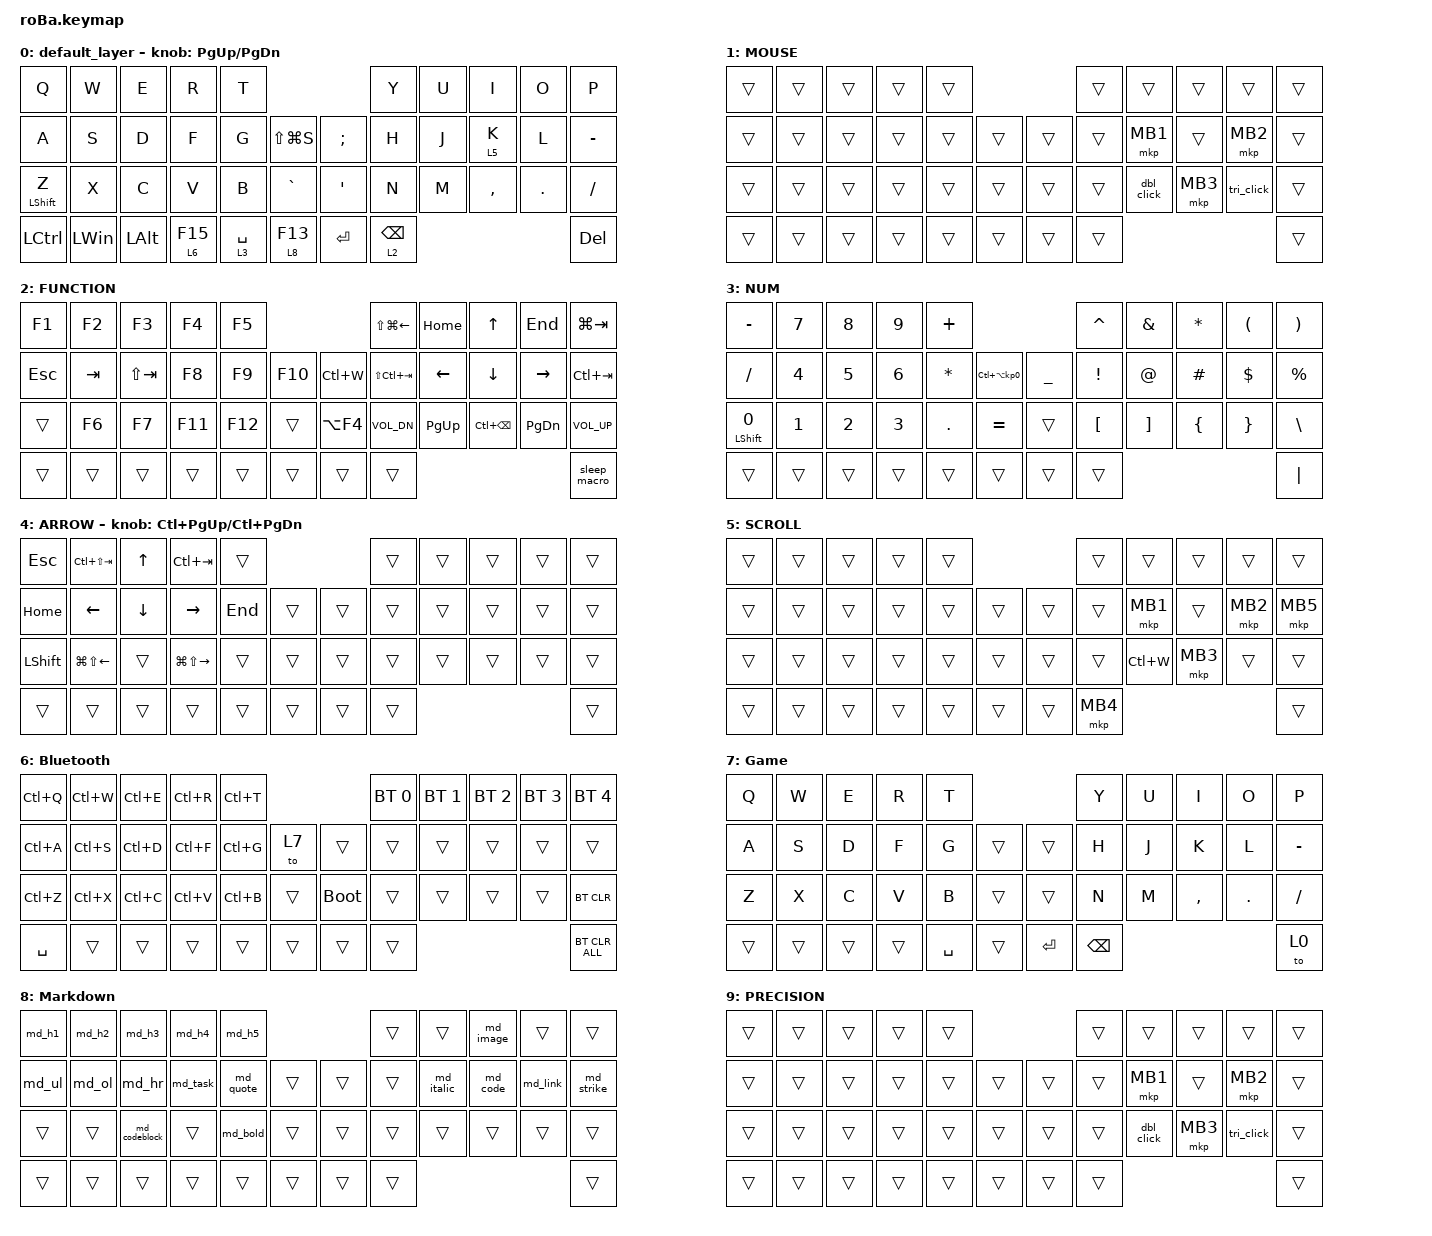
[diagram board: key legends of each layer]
#include <input/processors.dtsi>
#include <dt-bindings/zmk/input_transform.h>
#include <behaviors.dtsi>
#include <dt-bindings/zmk/bt.h>
#include <dt-bindings/zmk/keys.h>
#include <dt-bindings/zmk/pointing.h>

&mt {
    flavor = "balanced";
    quick-tap-ms = <0>;
};

&zip_temp_layer {
    // キー入力直後の微小なトラックボール移動では自動マウスを開始しない。

    require-prior-idle-ms = <250>;

    // 入力前から自動マウスが有効でも、K/O などの文字キーで解除する。
    // マウス操作キーと専用修飾キーでは維持する。

    excluded-positions = <18 20 30 31 32 34 35 36>;
};

&trackball_listener {
    // Windows: 加速ON・速度8付近を目安に、通常の移動量を40%へ。
    // zip_xy_scaler は端数を蓄積するため、小さい移動も切り捨てない。
    // OSの加速カーブも変わるので、旧設定の速度2との厳密な換算ではない。
    // 自動解除は従来どおり最後の移動から700ms後。

    input-processors = <&zip_temp_layer 1 700 &zip_xy_scaler 2 5>;

    scroll {
        layers = <5>;
        input-processors = <&zip_xy_scaler 1 16 &zip_xy_to_scroll_mapper &zip_scroll_transform INPUT_TRANSFORM_Y_INVERT>;
    };

    // 精密操作: 押している間だけカーソル速度 1/3。数字を変えれば効き具合を調整できる
    // 親の通常減速も適用するため、精密操作は通常時のさらに1/3。
    // process-next で親の zip_temp_layer も続けて走らせ、オートマウスを維持する

    precision {
        layers = <9>;
        process-next;
        input-processors = <&zip_xy_scaler 1 3>;
    };
};

/ {
    combos {
        compatible = "zmk,combos";

        tab {
            bindings = <&kp TAB>;
            key-positions = <11 12>;
            layers = <9>;
        };

        shift_tab {
            bindings = <&kp LS(TAB)>;
            key-positions = <12 13>;
            layers = <9>;
        };

        esc {
            bindings = <&to_layer_0 ESC>;
            key-positions = <11 10>;
            layers = <9>;
        };

        snap-to-next-disp {
            bindings = <&kp LS(LG(RIGHT))>;
            key-positions = <11 12 13>;
            layers = <2>;
        };
    };

    macros {
        to_layer_0: to_layer_0 {
            compatible = "zmk,behavior-macro-one-param";
            #binding-cells = <1>;
            bindings = <&to 0 &macro_param_1to1 &kp MACRO_PLACEHOLDER>;
            label = "TO_LAYER_0";
        };

        sleep_macro: sleep_macro {
            compatible = "zmk,behavior-macro";
            #binding-cells = <0>;
            bindings =
                <&kp LG(X)>,
                <&macro_wait_time 1000>,
                <&kp U>,
                <&macro_wait_time 500>,
                <&kp S>;

            label = "SLEEP_MACRO";
        };

        dbl_click: dbl_click {
            compatible = "zmk,behavior-macro";
            #binding-cells = <0>;
            bindings =
                <&macro_press>,
                <&mkp MB1>,
                <&macro_release>,
                <&mkp MB1>,
                <&macro_press>,
                <&mkp MB1>,
                <&macro_pause_for_release>,
                <&macro_release>,
                <&mkp MB1>;

            label = "DBL_CLICK";
        };

        tri_click: tri_click {
            compatible = "zmk,behavior-macro";
            #binding-cells = <0>;
            bindings =
                <&macro_press>,
                <&mkp MB1>,
                <&macro_release>,
                <&mkp MB1>,
                <&macro_press>,
                <&mkp MB1>,
                <&macro_release>,
                <&mkp MB1>,
                <&macro_press>,
                <&mkp MB1>,
                <&macro_pause_for_release>,
                <&macro_release>,
                <&mkp MB1>;

            label = "TRI_CLICK";
        };

        // IME helpers (change here to switch IME method)

        ensure_en: ensure_en {
            compatible = "zmk,behavior-macro";
            #binding-cells = <0>;
            bindings = <&kp LANG2>;
        };

        ensure_jp: ensure_jp {
            compatible = "zmk,behavior-macro";
            #binding-cells = <0>;
            bindings = <&kp LANG1>;
        };

        // Markdown one-shot: headings

        md_h1: md_h1 {
            compatible = "zmk,behavior-macro";
            #binding-cells = <0>;
            wait-ms = <5>;
            tap-ms = <5>;
            bindings = <&ensure_en &kp HASH &kp SPACE &ensure_jp>;
        };

        md_h2: md_h2 {
            compatible = "zmk,behavior-macro";
            #binding-cells = <0>;
            wait-ms = <5>;
            tap-ms = <5>;
            bindings = <&ensure_en &kp HASH &kp HASH &kp SPACE &ensure_jp>;
        };

        md_h3: md_h3 {
            compatible = "zmk,behavior-macro";
            #binding-cells = <0>;
            wait-ms = <5>;
            tap-ms = <5>;
            bindings = <&ensure_en &kp HASH &kp HASH &kp HASH &kp SPACE &ensure_jp>;
        };

        md_h4: md_h4 {
            compatible = "zmk,behavior-macro";
            #binding-cells = <0>;
            wait-ms = <5>;
            tap-ms = <5>;
            bindings = <&ensure_en &kp HASH &kp HASH &kp HASH &kp HASH &kp SPACE &ensure_jp>;
        };

        md_h5: md_h5 {
            compatible = "zmk,behavior-macro";
            #binding-cells = <0>;
            wait-ms = <5>;
            tap-ms = <5>;
            bindings = <&ensure_en &kp HASH &kp HASH &kp HASH &kp HASH &kp HASH &kp SPACE &ensure_jp>;
        };

        // Markdown one-shot: block elements

        md_ul: md_ul {
            compatible = "zmk,behavior-macro";
            #binding-cells = <0>;
            wait-ms = <5>;
            tap-ms = <5>;
            bindings = <&ensure_en &kp MINUS &kp SPACE &ensure_jp>;
        };

        md_ol: md_ol {
            compatible = "zmk,behavior-macro";
            #binding-cells = <0>;
            wait-ms = <5>;
            tap-ms = <5>;
            bindings = <&ensure_en &kp N1 &kp DOT &kp SPACE &ensure_jp>;
        };

        md_hr: md_hr {
            compatible = "zmk,behavior-macro";
            #binding-cells = <0>;
            wait-ms = <5>;
            tap-ms = <5>;
            bindings = <&ensure_en &kp MINUS &kp MINUS &kp MINUS>;
        };

        md_task: md_task {
            compatible = "zmk,behavior-macro";
            #binding-cells = <0>;
            wait-ms = <5>;
            tap-ms = <5>;
            bindings = <&ensure_en &kp MINUS &kp SPACE &kp LBKT &kp SPACE &kp RBKT &kp SPACE &ensure_jp>;
        };

        md_quote: md_quote {
            compatible = "zmk,behavior-macro";
            #binding-cells = <0>;
            wait-ms = <5>;
            tap-ms = <5>;
            bindings = <&ensure_en &kp GT &kp SPACE &ensure_jp>;
        };

        // Markdown templates (one-shot with cursor positioning)

        md_link: md_link {
            compatible = "zmk,behavior-macro";
            #binding-cells = <0>;
            wait-ms = <5>;
            tap-ms = <5>;
            bindings = <&ensure_en &kp LBKT &kp RBKT &kp LPAR &kp RPAR &kp LEFT &kp LEFT &kp LEFT &ensure_jp>;
        };

        md_image: md_image {
            compatible = "zmk,behavior-macro";
            #binding-cells = <0>;
            wait-ms = <5>;
            tap-ms = <5>;
            bindings = <&ensure_en &kp EXCL &kp LBKT &kp RBKT &kp LPAR &kp RPAR &kp LEFT &kp LEFT &kp LEFT &ensure_jp>;
        };

        md_codeblock: md_codeblock {
            compatible = "zmk,behavior-macro";
            #binding-cells = <0>;
            wait-ms = <5>;
            tap-ms = <5>;
            bindings = <&ensure_en &kp GRAVE &kp GRAVE &kp GRAVE &kp ENTER &kp ENTER &kp GRAVE &kp GRAVE &kp GRAVE &kp UP>;
        };

        // Markdown surround (hold to wrap content)

        md_bold: md_bold {
            compatible = "zmk,behavior-macro";
            #binding-cells = <0>;
            wait-ms = <5>;
            tap-ms = <5>;
            bindings =
                <&ensure_en &kp ASTRK &kp ASTRK &ensure_jp>,
                <&macro_pause_for_release>,
                <&ensure_en &kp ASTRK &kp ASTRK &ensure_jp>;
        };

        md_italic: md_italic {
            compatible = "zmk,behavior-macro";
            #binding-cells = <0>;
            wait-ms = <5>;
            tap-ms = <5>;
            bindings =
                <&ensure_en &kp ASTRK &ensure_jp>,
                <&macro_pause_for_release>,
                <&ensure_en &kp ASTRK &ensure_jp>;
        };

        md_code: md_code {
            compatible = "zmk,behavior-macro";
            #binding-cells = <0>;
            wait-ms = <5>;
            tap-ms = <5>;
            bindings =
                <&ensure_en &kp GRAVE &ensure_jp>,
                <&macro_pause_for_release>,
                <&ensure_en &kp GRAVE &ensure_jp>;
        };

        md_strike: md_strike {
            compatible = "zmk,behavior-macro";
            #binding-cells = <0>;
            wait-ms = <5>;
            tap-ms = <5>;
            bindings =
                <&ensure_en &kp TILDE &kp TILDE &ensure_jp>,
                <&macro_pause_for_release>,
                <&ensure_en &kp TILDE &kp TILDE &ensure_jp>;
        };
    };

    behaviors {
        lt_to_layer_0: lt_to_layer_0 {
            compatible = "zmk,behavior-hold-tap";
            label = "LAYER_TAP_TO_0";
            bindings = <&mo>, <&to_layer_0>;

            #binding-cells = <2>;
            tapping-term-ms = <200>;

            // 直前のタップから200ms以内の再押下はホールドにせずタップ扱い
            // → 連打できるし、タップ後そのまま押しっぱなしでOSのオートリピートも効く

            quick-tap-ms = <200>;
        };

        my_tap_hold: my_tap_hold {
            compatible = "zmk,behavior-hold-tap";
            label = "MY_TAP_HOLD";
            bindings = <&mo>, <&kp>;

            #binding-cells = <2>;
            tapping-term-ms = <180>;

            // 速い klm などで L/J/M の割り込みをホールドと判定しない。

            flavor = "tap-preferred";

            // 180ms 以内の O の押下で K をタップと確定し、koj/kom へ判定を持ち越さない。

            hold-trigger-key-positions = <20 21 18 30 41>;
        };
    };

    keymap {
        compatible = "zmk,keymap";

        default_layer {
            bindings = <
&kp Q             &kp W         &kp E         &kp R                 &kp T                                                    &kp Y            &kp U  &kp I             &kp O    &kp P
&kp A             &kp S         &kp D         &kp F                 &kp G        &kp LS(LG(S))             &kp SEMICOLON     &kp H            &kp J  &my_tap_hold 5 K  &kp L    &kp MINUS
&mt LEFT_SHIFT Z  &kp X         &kp C         &kp V                 &kp B        &kp GRAVE                 &kp SINGLE_QUOTE  &kp N            &kp M  &kp COMMA         &kp DOT  &kp SLASH
&kp LCTRL         &kp LEFT_WIN  &kp LEFT_ALT  &lt_to_layer_0 6 F15  &lt 3 SPACE  &lt_to_layer_0 8 F13      &kp ENTER         &lt 2 BACKSPACE                                    &kp DEL
            >;

            sensor-bindings = <&inc_dec_kp PG_UP PAGE_DOWN>;
        };

        MOUSE {
            bindings = <
&trans  &trans  &trans  &trans  &trans                      &trans  &trans      &trans    &trans      &trans
&trans  &trans  &trans  &trans  &trans  &trans      &trans  &trans  &mkp MB1    &trans    &mkp MB2    &trans
&trans  &trans  &trans  &trans  &trans  &trans      &trans  &trans  &dbl_click  &mkp MB3  &tri_click  &trans
&trans  &trans  &trans  &trans  &trans  &trans      &trans  &trans                                    &trans
            >;
        };

        FUNCTION {
            bindings = <
&kp F1      &kp F2   &kp F3       &kp F4   &kp F5                            &kp LS(LG(LEFT))  &kp HOME        &kp UP_ARROW       &kp END          &kp LG(TAB)
&kp ESCAPE  &kp TAB  &kp LS(TAB)  &kp F8   &kp F9   &kp F10      &kp LC(W)   &kp LS(LC(TAB))   &kp LEFT_ARROW  &kp DOWN_ARROW     &kp RIGHT_ARROW  &kp LC(TAB)
&trans      &kp F6   &kp F7       &kp F11  &kp F12  &trans       &kp LA(F4)  &kp C_VOL_DN      &kp PAGE_UP     &kp LC(BACKSPACE)  &kp PAGE_DOWN    &kp C_VOL_UP
&trans      &trans   &trans       &trans   &trans   &trans       &trans      &trans                                                                &sleep_macro
            >;
        };

        NUM {
            bindings = <
&kp MINUS          &kp NUMBER_7  &kp NUMBER_8  &kp NUMBER_9  &kp PLUS                                                   &kp CARET         &kp AMPERSAND      &kp ASTRK       &kp LEFT_PARENTHESIS  &kp RIGHT_PARENTHESIS
&kp SLASH          &kp NUMBER_4  &kp NUMBER_5  &kp NUMBER_6  &kp ASTERISK  &kp LC(LA(KP_NUMBER_0))      &kp UNDERSCORE  &kp EXCLAMATION   &kp AT_SIGN        &kp HASH        &kp DOLLAR            &kp PERCENT
&mt LEFT_SHIFT N0  &kp NUMBER_1  &kp NUMBER_2  &kp NUMBER_3  &kp PERIOD    &kp EQUAL                    &trans          &kp LEFT_BRACKET  &kp RIGHT_BRACKET  &kp LEFT_BRACE  &kp RIGHT_BRACE       &kp BACKSLASH
&trans             &trans        &trans        &trans        &trans        &trans                       &trans          &trans                                                                     &kp PIPE
            >;
        };

        ARROW {
            bindings = <
&kp ESCAPE      &kp LC(LS(TAB))         &kp UP_ARROW    &kp LC(TAB)              &trans                       &trans  &trans  &trans  &trans  &trans
&kp HOME        &kp LEFT_ARROW          &kp DOWN_ARROW  &kp RIGHT_ARROW          &kp END  &trans      &trans  &trans  &trans  &trans  &trans  &trans
&kp LEFT_SHIFT  &kp LG(LS(LEFT_ARROW))  &trans          &kp LG(LS(RIGHT_ARROW))  &trans   &trans      &trans  &trans  &trans  &trans  &trans  &trans
&trans          &trans                  &trans          &trans                   &trans   &trans      &trans  &trans                          &trans
            >;

            sensor-bindings = <&inc_dec_kp LC(PAGE_UP) LC(PAGE_DOWN)>;
        };

        SCROLL {
            bindings = <
&trans  &trans  &trans  &trans  &trans                      &trans    &trans     &trans    &trans    &trans
&trans  &trans  &trans  &trans  &trans  &trans      &trans  &trans    &mkp MB1   &trans    &mkp MB2  &mkp MB5
&trans  &trans  &trans  &trans  &trans  &trans      &trans  &trans    &kp LC(W)  &mkp MB3  &trans    &trans
&trans  &trans  &trans  &trans  &trans  &trans      &trans  &mkp MB4                                 &trans
            >;
        };

        Bluetooth {
            bindings = <
&kp LC(Q)  &kp LC(W)  &kp LC(E)  &kp LC(R)  &kp LC(T)                           &bt BT_SEL 0  &bt BT_SEL 1  &bt BT_SEL 2  &bt BT_SEL 3  &bt BT_SEL 4
&kp LC(A)  &kp LC(S)  &kp LC(D)  &kp LC(F)  &kp LC(G)  &to 7       &trans       &trans        &trans        &trans        &trans        &trans
&kp LC(Z)  &kp LC(X)  &kp LC(C)  &kp LC(V)  &kp LC(B)  &trans      &bootloader  &trans        &trans        &trans        &trans        &bt BT_CLR
&kp SPACE  &trans     &trans     &trans     &trans     &trans      &trans       &trans                                                  &bt BT_CLR_ALL
            >;
        };

        Game {
            bindings = <
&kp Q   &kp W   &kp E   &kp R   &kp T                             &kp Y          &kp U  &kp I      &kp O       &kp P
&kp A   &kp S   &kp D   &kp F   &kp G      &trans      &trans     &kp H          &kp J  &kp K      &kp L       &kp MINUS
&kp Z   &kp X   &kp C   &kp V   &kp B      &trans      &trans     &kp N          &kp M  &kp COMMA  &kp PERIOD  &kp SLASH
&trans  &trans  &trans  &trans  &kp SPACE  &trans      &kp ENTER  &kp BACKSPACE                                &to 0
            >;
        };

        Markdown {
            bindings = <
&md_h1  &md_h2  &md_h3         &md_h4    &md_h5                         &trans  &trans      &md_image  &trans    &trans
&md_ul  &md_ol  &md_hr         &md_task  &md_quote  &trans      &trans  &trans  &md_italic  &md_code   &md_link  &md_strike
&trans  &trans  &md_codeblock  &trans    &md_bold   &trans      &trans  &trans  &trans      &trans     &trans    &trans
&trans  &trans  &trans         &trans    &trans     &trans      &trans  &trans                                   &trans
            >;
        };

        // MOUSE と同じ操作系（トラックボールが 1/3 速になるだけ）

        PRECISION {
            bindings = <
&trans  &trans  &trans  &trans  &trans                      &trans  &trans      &trans    &trans      &trans
&trans  &trans  &trans  &trans  &trans  &trans      &trans  &trans  &mkp MB1    &trans    &mkp MB2    &trans
&trans  &trans  &trans  &trans  &trans  &trans      &trans  &trans  &dbl_click  &mkp MB3  &tri_click  &trans
&trans  &trans  &trans  &trans  &trans  &trans      &trans  &trans                                    &trans
            >;
        };
    };
};
